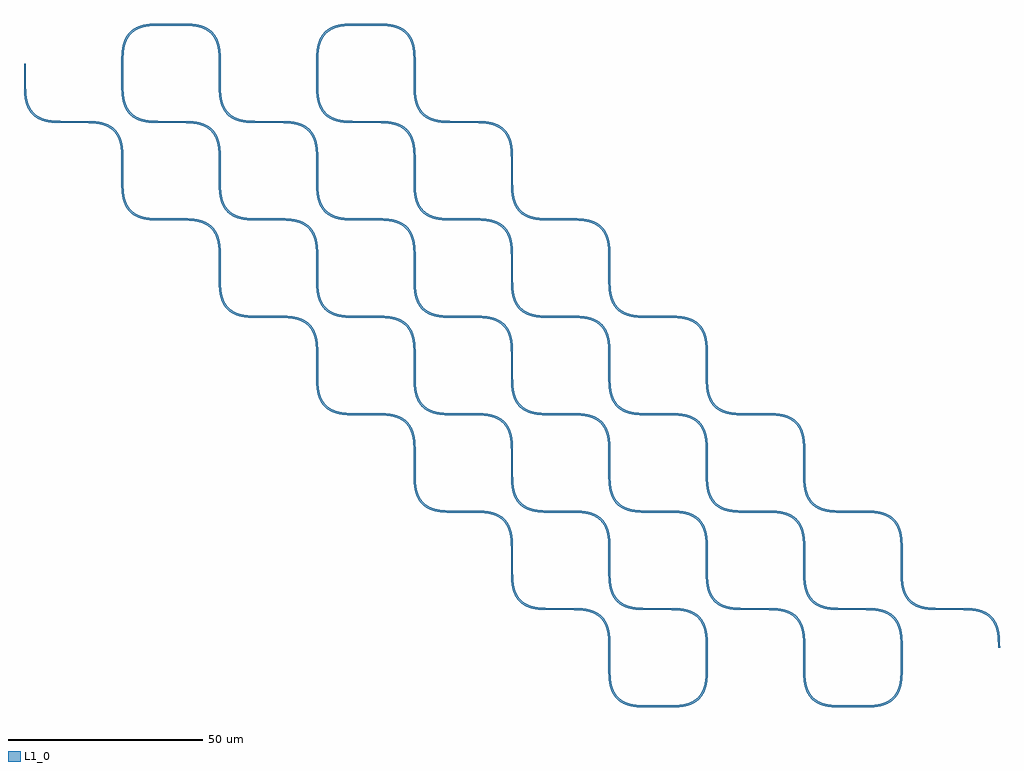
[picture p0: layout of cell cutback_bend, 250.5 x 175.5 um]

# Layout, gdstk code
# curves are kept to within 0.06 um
from math import pi, radians
import gdstk
lib = gdstk.Library(unit=1e-6, precision=1e-09)
def R(c, l, rs):  # rectangles x0, y0, x1, y1
    for r in rs: c.add(gdstk.rectangle(r[:2], r[2:], *l))
def P(c, l, *ps):  # polygons
    for p in ps: c.add(gdstk.Polygon(p, *l))
L1_0 = (1, 0)

bend_euler = lib.new_cell('bend_euler')
P(bend_euler, L1_0, [(0,-0.25),(2.93,-0.158),(4.865,0.175),(5.829,0.491),(6.664,0.882),(7.404,1.353),(8.073,1.927),(8.647,2.596),(9.118,3.336),(9.509,4.171),(9.825,5.135),(10.158,7.07),(10.25,10),(9.75,10),(9.651,7.025),(9.494,5.933),(9.213,4.826),(8.591,3.419),(7.751,2.313),(7.215,1.837),(6.581,1.409),(5.217,0.801),(4.247,0.542),(2.975,0.349),(0,0.25)])

straight_length5_width50 = lib.new_cell('straight_length5_width500n')
R(straight_length5_width50, L1_0, [(0,-0.25,5,0.25)])

cutback_bend = lib.new_cell('cutback_bend')
cutback_bend.add(gdstk.Reference(bend_euler, (0,0), rotation=pi/2))
cutback_bend.add(gdstk.Reference(straight_length5_width50, (-10,10), rotation=pi))
cutback_bend.add(gdstk.Reference(bend_euler, (-25,20), rotation=3*pi/2))
cutback_bend.add(gdstk.Reference(straight_length5_width50, (-25,20), rotation=pi/2))
cutback_bend.add(gdstk.Reference(bend_euler, (-25,25), rotation=pi/2))
cutback_bend.add(gdstk.Reference(straight_length5_width50, (-35,35), rotation=pi))
cutback_bend.add(gdstk.Reference(bend_euler, (-50,45), rotation=3*pi/2))
cutback_bend.add(gdstk.Reference(straight_length5_width50, (-50,45), rotation=pi/2))
cutback_bend.add(gdstk.Reference(bend_euler, (-50,50), rotation=pi/2))
cutback_bend.add(gdstk.Reference(straight_length5_width50, (-60,60), rotation=pi))
cutback_bend.add(gdstk.Reference(bend_euler, (-75,70), rotation=3*pi/2))
cutback_bend.add(gdstk.Reference(straight_length5_width50, (-75,70), rotation=pi/2))
cutback_bend.add(gdstk.Reference(bend_euler, (-75,75), rotation=pi/2))
cutback_bend.add(gdstk.Reference(straight_length5_width50, (-85,85), rotation=pi))
cutback_bend.add(gdstk.Reference(bend_euler, (-100,95), rotation=3*pi/2))
cutback_bend.add(gdstk.Reference(straight_length5_width50, (-100,95), rotation=pi/2))
cutback_bend.add(gdstk.Reference(bend_euler, (-100,100), rotation=pi/2))
cutback_bend.add(gdstk.Reference(straight_length5_width50, (-110,110), rotation=pi))
cutback_bend.add(gdstk.Reference(bend_euler, (-125,120), rotation=3*pi/2))
cutback_bend.add(gdstk.Reference(straight_length5_width50, (-125,120), rotation=pi/2))
cutback_bend.add(gdstk.Reference(bend_euler, (-125,125), rotation=pi/2))
cutback_bend.add(gdstk.Reference(straight_length5_width50, (-135,135), rotation=pi))
cutback_bend.add(gdstk.Reference(bend_euler, (-150,145), rotation=3*pi/2))
cutback_bend.add(gdstk.Reference(straight_length5_width50, (-150,145), rotation=pi/2))
cutback_bend.add(gdstk.Reference(bend_euler, (-150,150), rotation=pi/2))
cutback_bend.add(gdstk.Reference(straight_length5_width50, (-160,160), rotation=pi))
cutback_bend.add(gdstk.Reference(bend_euler, (-165,160), rotation=pi))
cutback_bend.add(gdstk.Reference(straight_length5_width50, (-175,150), rotation=3*pi/2))
cutback_bend.add(gdstk.Reference(bend_euler, (-175,145), rotation=3*pi/2))
cutback_bend.add(gdstk.Reference(straight_length5_width50, (-165,135)))
cutback_bend.add(gdstk.Reference(bend_euler, (-150,125), rotation=pi/2))
cutback_bend.add(gdstk.Reference(straight_length5_width50, (-150,125), rotation=3*pi/2))
cutback_bend.add(gdstk.Reference(bend_euler, (-150,120), rotation=3*pi/2))
cutback_bend.add(gdstk.Reference(straight_length5_width50, (-140,110)))
cutback_bend.add(gdstk.Reference(bend_euler, (-125,100), rotation=pi/2))
cutback_bend.add(gdstk.Reference(straight_length5_width50, (-125,100), rotation=3*pi/2))
cutback_bend.add(gdstk.Reference(bend_euler, (-125,95), rotation=3*pi/2))
cutback_bend.add(gdstk.Reference(straight_length5_width50, (-115,85)))
cutback_bend.add(gdstk.Reference(bend_euler, (-100,75), rotation=pi/2))
cutback_bend.add(gdstk.Reference(straight_length5_width50, (-100,75), rotation=3*pi/2))
cutback_bend.add(gdstk.Reference(bend_euler, (-100,70), rotation=3*pi/2))
cutback_bend.add(gdstk.Reference(straight_length5_width50, (-90,60)))
cutback_bend.add(gdstk.Reference(bend_euler, (-75,50), rotation=pi/2))
cutback_bend.add(gdstk.Reference(straight_length5_width50, (-75,50), rotation=3*pi/2))
cutback_bend.add(gdstk.Reference(bend_euler, (-75,45), rotation=3*pi/2))
cutback_bend.add(gdstk.Reference(straight_length5_width50, (-65,35)))
cutback_bend.add(gdstk.Reference(bend_euler, (-50,25), rotation=pi/2))
cutback_bend.add(gdstk.Reference(straight_length5_width50, (-50,25), rotation=3*pi/2))
cutback_bend.add(gdstk.Reference(bend_euler, (-50,20), rotation=3*pi/2))
cutback_bend.add(gdstk.Reference(straight_length5_width50, (-40,10)))
cutback_bend.add(gdstk.Reference(bend_euler, (-25,0), rotation=pi/2))
cutback_bend.add(gdstk.Reference(straight_length5_width50, (-25,0), rotation=3*pi/2))
cutback_bend.add(gdstk.Reference(bend_euler, (-35,-15)))
cutback_bend.add(gdstk.Reference(straight_length5_width50, (-35,-15), rotation=pi))
cutback_bend.add(gdstk.Reference(bend_euler, (-50,-5), rotation=3*pi/2))
cutback_bend.add(gdstk.Reference(straight_length5_width50, (-50,-5), rotation=pi/2))
cutback_bend.add(gdstk.Reference(bend_euler, (-50,0), rotation=pi/2))
cutback_bend.add(gdstk.Reference(straight_length5_width50, (-60,10), rotation=pi))
cutback_bend.add(gdstk.Reference(bend_euler, (-75,20), rotation=3*pi/2))
cutback_bend.add(gdstk.Reference(straight_length5_width50, (-75,20), rotation=pi/2))
cutback_bend.add(gdstk.Reference(bend_euler, (-75,25), rotation=pi/2))
cutback_bend.add(gdstk.Reference(straight_length5_width50, (-85,35), rotation=pi))
cutback_bend.add(gdstk.Reference(bend_euler, (-100,45), rotation=3*pi/2))
cutback_bend.add(gdstk.Reference(straight_length5_width50, (-100,45), rotation=pi/2))
cutback_bend.add(gdstk.Reference(bend_euler, (-100,50), rotation=pi/2))
cutback_bend.add(gdstk.Reference(straight_length5_width50, (-110,60), rotation=pi))
cutback_bend.add(gdstk.Reference(bend_euler, (-125,70), rotation=3*pi/2))
cutback_bend.add(gdstk.Reference(straight_length5_width50, (-125,70), rotation=pi/2))
cutback_bend.add(gdstk.Reference(bend_euler, (-125,75), rotation=pi/2))
cutback_bend.add(gdstk.Reference(straight_length5_width50, (-135,85), rotation=pi))
cutback_bend.add(gdstk.Reference(bend_euler, (-150,95), rotation=3*pi/2))
cutback_bend.add(gdstk.Reference(straight_length5_width50, (-150,95), rotation=pi/2))
cutback_bend.add(gdstk.Reference(bend_euler, (-150,100), rotation=pi/2))
cutback_bend.add(gdstk.Reference(straight_length5_width50, (-160,110), rotation=pi))
cutback_bend.add(gdstk.Reference(bend_euler, (-175,120), rotation=3*pi/2))
cutback_bend.add(gdstk.Reference(straight_length5_width50, (-175,120), rotation=pi/2))
cutback_bend.add(gdstk.Reference(bend_euler, (-175,125), rotation=pi/2))
cutback_bend.add(gdstk.Reference(straight_length5_width50, (-185,135), rotation=pi))
cutback_bend.add(gdstk.Reference(bend_euler, (-200,145), rotation=3*pi/2))
cutback_bend.add(gdstk.Reference(straight_length5_width50, (-200,145), rotation=pi/2))
cutback_bend.add(gdstk.Reference(bend_euler, (-200,150), rotation=pi/2))
cutback_bend.add(gdstk.Reference(straight_length5_width50, (-210,160), rotation=pi))
cutback_bend.add(gdstk.Reference(bend_euler, (-215,160), rotation=pi))
cutback_bend.add(gdstk.Reference(straight_length5_width50, (-225,150), rotation=3*pi/2))
cutback_bend.add(gdstk.Reference(bend_euler, (-225,145), rotation=3*pi/2))
cutback_bend.add(gdstk.Reference(straight_length5_width50, (-215,135)))
cutback_bend.add(gdstk.Reference(bend_euler, (-200,125), rotation=pi/2))
cutback_bend.add(gdstk.Reference(straight_length5_width50, (-200,125), rotation=3*pi/2))
cutback_bend.add(gdstk.Reference(bend_euler, (-200,120), rotation=3*pi/2))
cutback_bend.add(gdstk.Reference(straight_length5_width50, (-190,110)))
cutback_bend.add(gdstk.Reference(bend_euler, (-175,100), rotation=pi/2))
cutback_bend.add(gdstk.Reference(straight_length5_width50, (-175,100), rotation=3*pi/2))
cutback_bend.add(gdstk.Reference(bend_euler, (-175,95), rotation=3*pi/2))
cutback_bend.add(gdstk.Reference(straight_length5_width50, (-165,85)))
cutback_bend.add(gdstk.Reference(bend_euler, (-150,75), rotation=pi/2))
cutback_bend.add(gdstk.Reference(straight_length5_width50, (-150,75), rotation=3*pi/2))
cutback_bend.add(gdstk.Reference(bend_euler, (-150,70), rotation=3*pi/2))
cutback_bend.add(gdstk.Reference(straight_length5_width50, (-140,60)))
cutback_bend.add(gdstk.Reference(bend_euler, (-125,50), rotation=pi/2))
cutback_bend.add(gdstk.Reference(straight_length5_width50, (-125,50), rotation=3*pi/2))
cutback_bend.add(gdstk.Reference(bend_euler, (-125,45), rotation=3*pi/2))
cutback_bend.add(gdstk.Reference(straight_length5_width50, (-115,35)))
cutback_bend.add(gdstk.Reference(bend_euler, (-100,25), rotation=pi/2))
cutback_bend.add(gdstk.Reference(straight_length5_width50, (-100,25), rotation=3*pi/2))
cutback_bend.add(gdstk.Reference(bend_euler, (-100,20), rotation=3*pi/2))
cutback_bend.add(gdstk.Reference(straight_length5_width50, (-90,10)))
cutback_bend.add(gdstk.Reference(bend_euler, (-75,0), rotation=pi/2))
cutback_bend.add(gdstk.Reference(straight_length5_width50, (-75,0), rotation=3*pi/2))
cutback_bend.add(gdstk.Reference(bend_euler, (-85,-15)))
cutback_bend.add(gdstk.Reference(straight_length5_width50, (-85,-15), rotation=pi))
cutback_bend.add(gdstk.Reference(bend_euler, (-100,-5), rotation=3*pi/2))
cutback_bend.add(gdstk.Reference(straight_length5_width50, (-100,-5), rotation=pi/2))
cutback_bend.add(gdstk.Reference(bend_euler, (-100,0), rotation=pi/2))
cutback_bend.add(gdstk.Reference(straight_length5_width50, (-110,10), rotation=pi))
cutback_bend.add(gdstk.Reference(bend_euler, (-125,20), rotation=3*pi/2))
cutback_bend.add(gdstk.Reference(straight_length5_width50, (-125,20), rotation=pi/2))
cutback_bend.add(gdstk.Reference(bend_euler, (-125,25), rotation=pi/2))
cutback_bend.add(gdstk.Reference(straight_length5_width50, (-135,35), rotation=pi))
cutback_bend.add(gdstk.Reference(bend_euler, (-150,45), rotation=3*pi/2))
cutback_bend.add(gdstk.Reference(straight_length5_width50, (-150,45), rotation=pi/2))
cutback_bend.add(gdstk.Reference(bend_euler, (-150,50), rotation=pi/2))
cutback_bend.add(gdstk.Reference(straight_length5_width50, (-160,60), rotation=pi))
cutback_bend.add(gdstk.Reference(bend_euler, (-175,70), rotation=3*pi/2))
cutback_bend.add(gdstk.Reference(straight_length5_width50, (-175,70), rotation=pi/2))
cutback_bend.add(gdstk.Reference(bend_euler, (-175,75), rotation=pi/2))
cutback_bend.add(gdstk.Reference(straight_length5_width50, (-185,85), rotation=pi))
cutback_bend.add(gdstk.Reference(bend_euler, (-200,95), rotation=3*pi/2))
cutback_bend.add(gdstk.Reference(straight_length5_width50, (-200,95), rotation=pi/2))
cutback_bend.add(gdstk.Reference(bend_euler, (-200,100), rotation=pi/2))
cutback_bend.add(gdstk.Reference(straight_length5_width50, (-210,110), rotation=pi))
cutback_bend.add(gdstk.Reference(bend_euler, (-225,120), rotation=3*pi/2))
cutback_bend.add(gdstk.Reference(straight_length5_width50, (-225,120), rotation=pi/2))
cutback_bend.add(gdstk.Reference(bend_euler, (-225,125), rotation=pi/2))
cutback_bend.add(gdstk.Reference(straight_length5_width50, (-235,135), rotation=pi))
cutback_bend.add(gdstk.Reference(bend_euler, (-250,145), rotation=3*pi/2))
cutback_bend.add(gdstk.Reference(straight_length5_width50, (-250,145), rotation=pi/2))

lib.write_gds('cutback_bend.gds')
